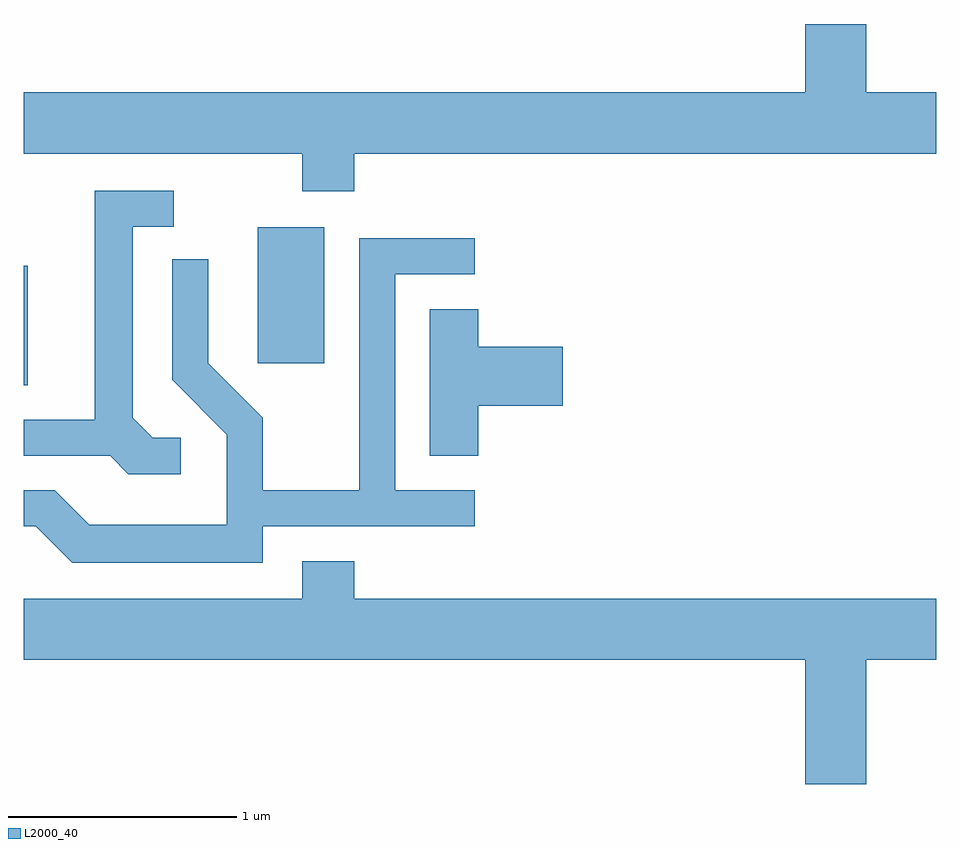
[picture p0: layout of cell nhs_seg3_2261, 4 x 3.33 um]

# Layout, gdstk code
import gdstk
lib = gdstk.Library(unit=1e-6, precision=1e-09)
def R(c, l, rs):  # rectangles x0, y0, x1, y1
    for r in rs: c.add(gdstk.rectangle(r[:2], r[2:], *l))
def P(c, l, *ps):  # polygons
    for p in ps: c.add(gdstk.Polygon(p, *l))
L2000_40 = (2000, 40)

nhs_seg3_2261 = lib.new_cell('nhs_seg3_2261')
R(nhs_seg3_2261, L2000_40, [(251.611,1151.641,251.629,1152.164), (252.636,1151.736,252.929,1152.334)])
P(nhs_seg3_2261, L2000_40, [(253.059,1152.656),(255.611,1152.656),(255.611,1152.924),(255.304,1152.924),(255.304,1153.224),(255.036,1153.224),(255.036,1152.924),(251.611,1152.924),(251.611,1152.656),(252.831,1152.656),(252.831,1152.491),(253.059,1152.491)],
  [(252.298,1151.409),(252.177,1151.409),(252.089,1151.497),(252.089,1152.336),(252.268,1152.336),(252.268,1152.494),(251.921,1152.494),(251.921,1151.489),(251.611,1151.489),(251.611,1151.331),(251.989,1151.331),(252.069,1151.251),(252.298,1151.251)],
  [(252.659,1151.021),(253.588,1151.021),(253.588,1151.179),(253.239,1151.179),(253.239,1152.126),(253.588,1152.126),(253.588,1152.284),(253.081,1152.284),(253.081,1151.179),(252.659,1151.179),(252.659,1151.497),(252.419,1151.737),(252.419,1152.193),(252.261,1152.193),(252.261,1151.664),(252.501,1151.424),(252.501,1151.029),(251.897,1151.029),(251.747,1151.179),(251.611,1151.179),(251.611,1151.021),(251.664,1151.021),(251.824,1150.861),(252.659,1150.861)],
  [(253.604,1151.551),(253.974,1151.551),(253.974,1151.809),(253.604,1151.809),(253.604,1151.974),(253.391,1151.974),(253.391,1151.331),(253.604,1151.331)],
  [(255.304,1150.436),(255.611,1150.436),(255.611,1150.704),(253.059,1150.704),(253.059,1150.869),(252.831,1150.869),(252.831,1150.704),(251.611,1150.704),(251.611,1150.436),(255.036,1150.436),(255.036,1149.892),(255.304,1149.892)])

lib.write_gds('nhs_seg3_2261.gds')
